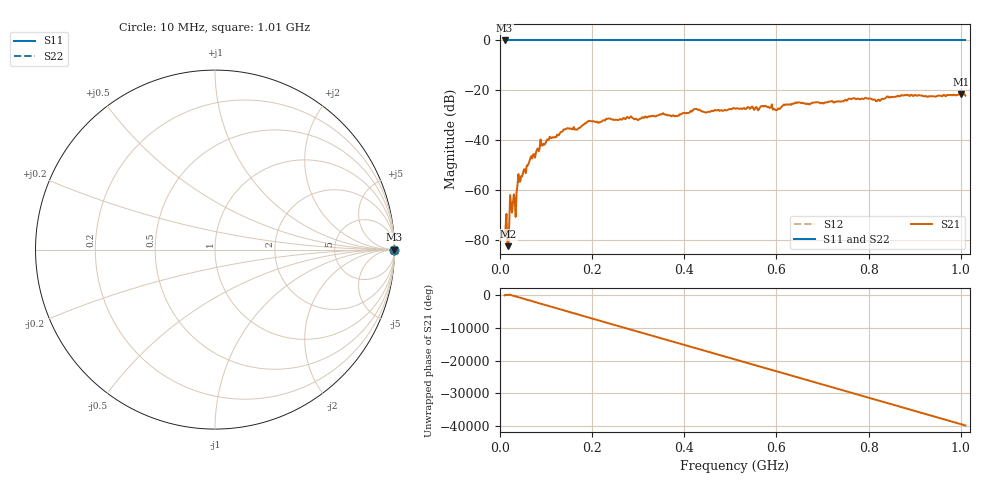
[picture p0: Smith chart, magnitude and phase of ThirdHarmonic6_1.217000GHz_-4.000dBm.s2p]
! 8/16/2025 12:43:50 PM
! C:\ANRITSUVNA\TEMP\TEMP.S2P
! CHANNEL.1
! TR.MEASUREMENT
! RAW.DATA
! RF.CORRECTION.OFF
! AVERAGING.OFF
! IF.BANDWIDTH: 5KHZ
! SWEEPTYPE:  FREQ.SWEEP(Linear)
! Reference Plane Port Info
! PORT:  PORT1  PORT2
! DISTANCE:  0  m  0  m
! TIME:  0  s  0  s
! PHASE.OFFSET:  0  deg.  0  deg.
! LOSS:  0  dB  0  dB
! REF.LOSS:  0  dB  0  dB
! REF.FREQ:  0  Hz  0  Hz
! Power Info
! POWER:  -20  dBm  -20  dBm
! EFF.POWER:  -20  dBm  -20  dBm
! SOURCE.ATTEN:  0  dB  0  dB
! TEST.ATTEN:  0  dB  0  dB
# GHZ S RI R 50.0
! FREQ.GHZ  S11RE  S11IM  S21RE  S21IM  S12RE  S12IM  S22RE  S22IM
!; PortSelection: Port_12
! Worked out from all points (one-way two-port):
!   501 points, 10 MHz to 1.01 GHz, reference 50 ohm
!   highest |S21| = -21.49 dB at 1 GHz (marker M1); lowest = -82.5 dB at 18 MHz (marker M2)
!   lowest |S11| = 0.0 dB at 10 MHz (marker M3)
!   |S11| at or under -10 dB: nowhere
!   |S22| runs from 0.0 to 0.0 dB; largest |S21 - S12| = 1.1
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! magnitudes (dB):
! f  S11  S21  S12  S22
! 10 MHz  0.0  -78.8  0.0  0.0
! 14 MHz  0.0  -69.5  0.0  0.0
! 18 MHz  0.0  -82.5  0.0  0.0
! 20 MHz  0.0  -73.8  0.0  0.0
! 26 MHz  0.0  -69.0  0.0  0.0
! 30 MHz  0.0  -61.7  0.0  0.0
! 42 MHz  0.0  -56.6  0.0  0.0
! 84 MHz  0.0  -44.4  0.0  0.0
! 142 MHz  0.0  -35.6  0.0  0.0
! 178 MHz  0.0  -34.2  0.0  0.0
! 194 MHz  0.0  -32.2  0.0  0.0
! 344 MHz  0.0  -30.0  0.0  0.0
! 510 MHz  0.0  -27.3  0.0  0.0
! 572 MHz  0.0  -26.5  0.0  0.0
! 598 MHz  0.0  -27.9  0.0  0.0
! 618 MHz  0.0  -26.0  0.0  0.0
! 678 MHz  0.0  -25.0  0.0  0.0
! 766 MHz  0.0  -23.2  0.0  0.0
! 820 MHz  0.0  -23.8  0.0  0.0
! 844 MHz  0.0  -22.8  0.0  0.0
! 1 GHz  0.0  -21.5  0.0  0.0
! 1.01 GHz  0.0  -22.1  0.0  0.0
